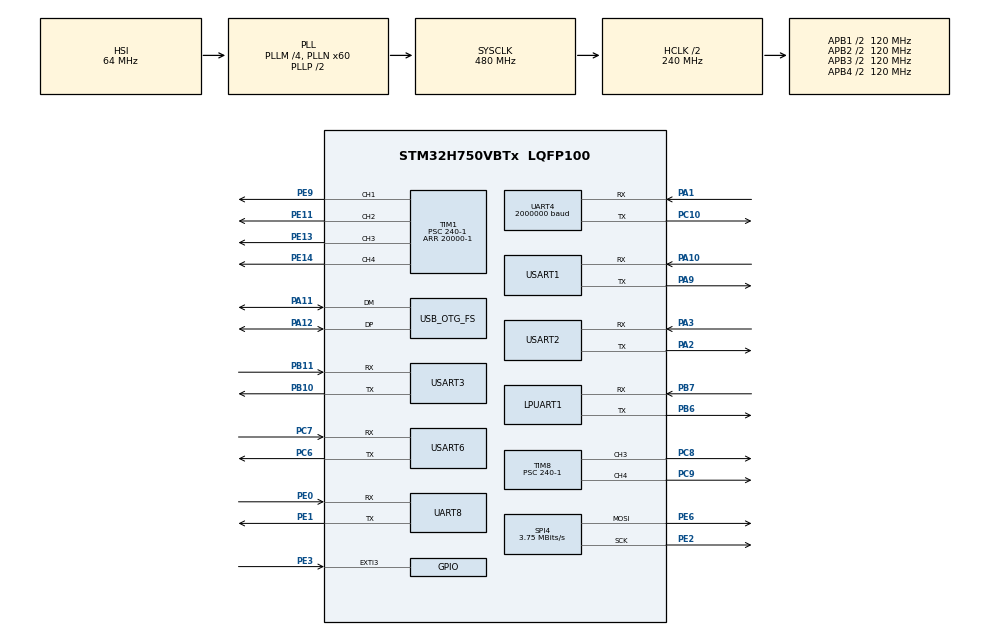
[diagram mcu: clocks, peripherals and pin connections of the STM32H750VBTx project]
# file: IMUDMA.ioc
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Dma.Request0=UART4_RX
Dma.Request1=UART4_TX
Dma.Request2=UART8_RX
Dma.Request3=SPI4_TX
Dma.Request4=USART3_TX
Dma.Request5=USART1_RX
Dma.Request6=USART2_RX
Dma.Request7=USART6_RX
Dma.SPI4_TX.3.Direction=DMA_MEMORY_TO_PERIPH
Dma.SPI4_TX.3.EventEnable=DISABLE
Dma.SPI4_TX.3.FIFOMode=DMA_FIFOMODE_DISABLE
Dma.SPI4_TX.3.Instance=DMA1_Stream3
Dma.SPI4_TX.3.MemDataAlignment=DMA_MDATAALIGN_BYTE
Dma.SPI4_TX.3.MemInc=DMA_MINC_ENABLE
Dma.SPI4_TX.3.Mode=DMA_NORMAL
Dma.SPI4_TX.3.PeriphDataAlignment=DMA_PDATAALIGN_BYTE
Dma.SPI4_TX.3.PeriphInc=DMA_PINC_DISABLE
Dma.SPI4_TX.3.Polarity=HAL_DMAMUX_REQ_GEN_RISING
Dma.SPI4_TX.3.Priority=DMA_PRIORITY_MEDIUM
Dma.SPI4_TX.3.RequestNumber=1
Dma.SPI4_TX.3.SignalID=NONE
Dma.SPI4_TX.3.SyncEnable=DISABLE
Dma.SPI4_TX.3.SyncPolarity=HAL_DMAMUX_SYNC_NO_EVENT
Dma.SPI4_TX.3.SyncRequestNumber=1
Dma.SPI4_TX.3.SyncSignalID=NONE
Dma.UART4_RX.0.Direction=DMA_PERIPH_TO_MEMORY
Dma.UART4_RX.0.EventEnable=DISABLE
Dma.UART4_RX.0.FIFOMode=DMA_FIFOMODE_DISABLE
Dma.UART4_RX.0.Instance=DMA1_Stream0
Dma.UART4_RX.0.MemDataAlignment=DMA_MDATAALIGN_BYTE
Dma.UART4_RX.0.MemInc=DMA_MINC_ENABLE
Dma.UART4_RX.0.Mode=DMA_NORMAL
Dma.UART4_RX.0.PeriphDataAlignment=DMA_PDATAALIGN_BYTE
Dma.UART4_RX.0.PeriphInc=DMA_PINC_DISABLE
Dma.UART4_RX.0.Polarity=HAL_DMAMUX_REQ_GEN_RISING
Dma.UART4_RX.0.Priority=DMA_PRIORITY_LOW
Dma.UART4_RX.0.RequestNumber=1
Dma.UART4_RX.0.SignalID=NONE
Dma.UART4_RX.0.SyncEnable=DISABLE
Dma.UART4_RX.0.SyncPolarity=HAL_DMAMUX_SYNC_NO_EVENT
Dma.UART4_RX.0.SyncRequestNumber=1
Dma.UART4_RX.0.SyncSignalID=NONE
Dma.UART4_TX.1.Direction=DMA_MEMORY_TO_PERIPH
Dma.UART4_TX.1.EventEnable=DISABLE
Dma.UART4_TX.1.FIFOMode=DMA_FIFOMODE_DISABLE
Dma.UART4_TX.1.Instance=DMA1_Stream1
Dma.UART4_TX.1.MemDataAlignment=DMA_MDATAALIGN_BYTE
Dma.UART4_TX.1.MemInc=DMA_MINC_ENABLE
Dma.UART4_TX.1.Mode=DMA_NORMAL
Dma.UART4_TX.1.PeriphDataAlignment=DMA_PDATAALIGN_BYTE
Dma.UART4_TX.1.PeriphInc=DMA_PINC_DISABLE
Dma.UART4_TX.1.Polarity=HAL_DMAMUX_REQ_GEN_RISING
Dma.UART4_TX.1.Priority=DMA_PRIORITY_LOW
Dma.UART4_TX.1.RequestNumber=1
Dma.UART4_TX.1.SignalID=NONE
Dma.UART4_TX.1.SyncEnable=DISABLE
Dma.UART4_TX.1.SyncPolarity=HAL_DMAMUX_SYNC_NO_EVENT
Dma.UART4_TX.1.SyncRequestNumber=1
Dma.UART4_TX.1.SyncSignalID=NONE
Dma.UART8_RX.2.Direction=DMA_PERIPH_TO_MEMORY
Dma.UART8_RX.2.EventEnable=DISABLE
Dma.UART8_RX.2.FIFOMode=DMA_FIFOMODE_DISABLE
Dma.UART8_RX.2.Instance=DMA1_Stream2
Dma.UART8_RX.2.MemDataAlignment=DMA_MDATAALIGN_BYTE
Dma.UART8_RX.2.MemInc=DMA_MINC_ENABLE
Dma.UART8_RX.2.Mode=DMA_NORMAL
Dma.UART8_RX.2.PeriphDataAlignment=DMA_PDATAALIGN_BYTE
Dma.UART8_RX.2.PeriphInc=DMA_PINC_DISABLE
Dma.UART8_RX.2.Polarity=HAL_DMAMUX_REQ_GEN_RISING
Dma.UART8_RX.2.Priority=DMA_PRIORITY_LOW
Dma.UART8_RX.2.RequestNumber=1
Dma.UART8_RX.2.SignalID=NONE
Dma.UART8_RX.2.SyncEnable=DISABLE
Dma.UART8_RX.2.SyncPolarity=HAL_DMAMUX_SYNC_NO_EVENT
Dma.UART8_RX.2.SyncRequestNumber=1
Dma.UART8_RX.2.SyncSignalID=NONE
Dma.USART1_RX.5.Direction=DMA_PERIPH_TO_MEMORY
Dma.USART1_RX.5.EventEnable=DISABLE
Dma.USART1_RX.5.FIFOMode=DMA_FIFOMODE_DISABLE
Dma.USART1_RX.5.Instance=DMA1_Stream5
Dma.USART1_RX.5.MemDataAlignment=DMA_MDATAALIGN_BYTE
Dma.USART1_RX.5.MemInc=DMA_MINC_ENABLE
Dma.USART1_RX.5.Mode=DMA_NORMAL
Dma.USART1_RX.5.PeriphDataAlignment=DMA_PDATAALIGN_BYTE
Dma.USART1_RX.5.PeriphInc=DMA_PINC_DISABLE
Dma.USART1_RX.5.Polarity=HAL_DMAMUX_REQ_GEN_RISING
Dma.USART1_RX.5.Priority=DMA_PRIORITY_LOW
Dma.USART1_RX.5.RequestNumber=1
Dma.USART1_RX.5.SignalID=NONE
Dma.USART1_RX.5.SyncEnable=DISABLE
Dma.USART1_RX.5.SyncPolarity=HAL_DMAMUX_SYNC_NO_EVENT
Dma.USART1_RX.5.SyncRequestNumber=1
Dma.USART1_RX.5.SyncSignalID=NONE
Dma.USART2_RX.6.Direction=DMA_PERIPH_TO_MEMORY
Dma.USART2_RX.6.EventEnable=DISABLE
Dma.USART2_RX.6.FIFOMode=DMA_FIFOMODE_DISABLE
Dma.USART2_RX.6.Instance=DMA1_Stream6
Dma.USART2_RX.6.MemDataAlignment=DMA_MDATAALIGN_BYTE
Dma.USART2_RX.6.MemInc=DMA_MINC_ENABLE
Dma.USART2_RX.6.Mode=DMA_NORMAL
Dma.USART2_RX.6.PeriphDataAlignment=DMA_PDATAALIGN_BYTE
Dma.USART2_RX.6.PeriphInc=DMA_PINC_DISABLE
Dma.USART2_RX.6.Polarity=HAL_DMAMUX_REQ_GEN_RISING
Dma.USART2_RX.6.Priority=DMA_PRIORITY_LOW
Dma.USART2_RX.6.RequestNumber=1
Dma.USART2_RX.6.SignalID=NONE
Dma.USART2_RX.6.SyncEnable=DISABLE
Dma.USART2_RX.6.SyncPolarity=HAL_DMAMUX_SYNC_NO_EVENT
Dma.USART2_RX.6.SyncRequestNumber=1
Dma.USART2_RX.6.SyncSignalID=NONE
Dma.USART3_TX.4.Direction=DMA_MEMORY_TO_PERIPH
Dma.USART3_TX.4.EventEnable=DISABLE
Dma.USART3_TX.4.FIFOMode=DMA_FIFOMODE_DISABLE
Dma.USART3_TX.4.Instance=DMA1_Stream4
Dma.USART3_TX.4.MemDataAlignment=DMA_MDATAALIGN_BYTE
Dma.USART3_TX.4.MemInc=DMA_MINC_ENABLE
Dma.USART3_TX.4.Mode=DMA_NORMAL
Dma.USART3_TX.4.PeriphDataAlignment=DMA_PDATAALIGN_BYTE
Dma.USART3_TX.4.PeriphInc=DMA_PINC_DISABLE
Dma.USART3_TX.4.Polarity=HAL_DMAMUX_REQ_GEN_RISING
Dma.USART3_TX.4.Priority=DMA_PRIORITY_LOW
Dma.USART3_TX.4.RequestNumber=1
Dma.USART3_TX.4.SignalID=NONE
Dma.USART3_TX.4.SyncEnable=DISABLE
Dma.USART3_TX.4.SyncPolarity=HAL_DMAMUX_SYNC_NO_EVENT
Dma.USART3_TX.4.SyncRequestNumber=1
Dma.USART3_TX.4.SyncSignalID=NONE
Dma.USART6_RX.7.Direction=DMA_PERIPH_TO_MEMORY
Dma.USART6_RX.7.EventEnable=DISABLE
Dma.USART6_RX.7.FIFOMode=DMA_FIFOMODE_DISABLE
Dma.USART6_RX.7.Instance=DMA1_Stream7
Dma.USART6_RX.7.MemDataAlignment=DMA_MDATAALIGN_BYTE
Dma.USART6_RX.7.MemInc=DMA_MINC_ENABLE
Dma.USART6_RX.7.Mode=DMA_NORMAL
Dma.USART6_RX.7.PeriphDataAlignment=DMA_PDATAALIGN_BYTE
Dma.USART6_RX.7.PeriphInc=DMA_PINC_DISABLE
Dma.USART6_RX.7.Polarity=HAL_DMAMUX_REQ_GEN_RISING
Dma.USART6_RX.7.Priority=DMA_PRIORITY_LOW
Dma.USART6_RX.7.RequestNumber=1
Dma.USART6_RX.7.SignalID=NONE
Dma.USART6_RX.7.SyncEnable=DISABLE
Dma.USART6_RX.7.SyncPolarity=HAL_DMAMUX_SYNC_NO_EVENT
Dma.USART6_RX.7.SyncRequestNumber=1
Dma.USART6_RX.7.SyncSignalID=NONE
FREERTOS.BinarySemaphores01=usblinkRxcplt,Dynamic,NULL
FREERTOS.Queues01=usbRxQue,1024,uint8_t,0,Dynamic,NULL,NULL;DVL_eurl,1,uint32_t,0,Dynamic,NULL,NULL;DVL_attitude,16,uint32_t,0,Dynamic,NULL,NULL;GPSData,1,uint32_t,0,Dynamic,NULL,NULL
FREERTOS.Tasks01=defaultTask,8,256,StartDefaultTask,Default,NULL,Dynamic,NULL,NULL;IMURead,40,128,IMUReadTask,As weak,NULL,Dynamic,NULL,NULL;atpk_tx,24,128,atpkTxTask,As weak,NULL,Dynamic,NULL,NULL;usblinktx,24,128,usblinktxTask,As weak,NULL,Dynamic,NULL,NULL;DepthRead,40,128,DepthReadTask,As weak,NULL,Dynamic,NULL,NULL;usblink_Rx,32,128,usblink_RxTask,As weak,NULL,Dynamic,NULL,NULL;atpk_rx,40,300,atpkRxTask,As weak,NULL,Dynamic,NULL,NULL;stabilizer,39,256,stabilizerTask,As weak,NULL,Dynamic,NULL,NULL;DVLReadTask,40,128,DvlReadTask,As weak,NULL,Dynamic,NULL,NULL;GPSReadTask,40,128,GpsReadTask,As weak,NULL,Dynamic,NULL,NULL;LED,8,128,ledTask11,Default,NULL,Dynamic,NULL,NULL
FREERTOS.configENABLE_FPU=0
FREERTOS.configGENERATE_RUN_TIME_STATS=1
FREERTOS.configTOTAL_HEAP_SIZE=64000
FREERTOS.configUSE_STATS_FORMATTING_FUNCTIONS=1
Mcu.Family=STM32H7
Mcu.Name=STM32H750VBTx
Mcu.Package=LQFP100
NVIC.DMA1_Stream0_IRQn=true\:10\:0\:true\:false\:true\:true\:false\:true\:true
NVIC.DMA1_Stream1_IRQn=true\:10\:0\:true\:false\:true\:true\:false\:true\:true
NVIC.DMA1_Stream2_IRQn=true\:6\:0\:true\:false\:true\:true\:false\:true\:true
NVIC.DMA1_Stream3_IRQn=true\:5\:0\:false\:false\:true\:true\:false\:true\:true
NVIC.DMA1_Stream4_IRQn=true\:5\:0\:false\:false\:true\:true\:false\:true\:true
NVIC.DMA1_Stream5_IRQn=true\:8\:0\:true\:false\:true\:true\:false\:true\:true
NVIC.DMA1_Stream6_IRQn=true\:5\:0\:false\:false\:true\:true\:false\:true\:true
NVIC.DMA1_Stream7_IRQn=true\:7\:0\:true\:false\:true\:true\:false\:true\:true
NVIC.EXTI3_IRQn=true\:1\:0\:true\:false\:true\:false\:true\:true\:true
NVIC.LPUART1_IRQn=true\:5\:0\:false\:false\:true\:true\:true\:true\:true
NVIC.OTG_FS_IRQn=true\:5\:0\:false\:false\:true\:true\:false\:true\:true
NVIC.PriorityGroup=NVIC_PRIORITYGROUP_4
NVIC.SPI4_IRQn=true\:5\:0\:false\:false\:true\:true\:false\:true\:true
NVIC.TIM16_IRQn=true\:0\:0\:true\:false\:true\:false\:false\:true\:true
NVIC.TIM17_IRQn=true\:5\:0\:false\:false\:true\:true\:true\:true\:true
NVIC.TimeBase=TIM16_IRQn
NVIC.TimeBaseIP=TIM16
NVIC.UART4_IRQn=true\:10\:0\:true\:false\:true\:true\:true\:true\:true
NVIC.UART8_IRQn=true\:6\:0\:true\:false\:true\:true\:true\:true\:true
NVIC.USART1_IRQn=true\:8\:0\:true\:false\:true\:true\:true\:true\:true
NVIC.USART2_IRQn=true\:5\:0\:false\:false\:true\:true\:true\:true\:true
NVIC.USART3_IRQn=true\:5\:0\:false\:false\:true\:true\:true\:true\:true
NVIC.USART6_IRQn=true\:7\:0\:true\:false\:true\:true\:true\:true\:true
PA1.Mode=Asynchronous
PA1.Signal=UART4_RX
PA10.Mode=Asynchronous
PA10.Signal=USART1_RX
PA11.Mode=Device_Only
PA11.Signal=USB_OTG_FS_DM
PA12.Mode=Device_Only
PA12.Signal=USB_OTG_FS_DP
PA2.Mode=Asynchronous
PA2.Signal=USART2_TX
PA3.Mode=Asynchronous
PA3.Signal=USART2_RX
PA9.Mode=Asynchronous
PA9.Signal=USART1_TX
PB10.Mode=Asynchronous
PB10.Signal=USART3_TX
PB11.Mode=Asynchronous
PB11.Signal=USART3_RX
PB6.Mode=Asynchronous
PB6.Signal=LPUART1_TX
PB7.Mode=Asynchronous
PB7.Signal=LPUART1_RX
PC10.Mode=Asynchronous
PC10.Signal=UART4_TX
PC6.Mode=Asynchronous
PC6.Signal=USART6_TX
PC7.Mode=Asynchronous
PC7.Signal=USART6_RX
PC8.Signal=S_TIM8_CH3
PC9.Signal=S_TIM8_CH4
PE0.Mode=Asynchronous
PE0.Signal=UART8_RX
PE1.Mode=Asynchronous
PE1.Signal=UART8_TX
PE11.Signal=S_TIM1_CH2
PE13.Signal=S_TIM1_CH3
PE14.Signal=S_TIM1_CH4
PE2.Mode=TX_Only_Simplex_Unidirect_Master
PE2.Signal=SPI4_SCK
PE3.Signal=GPXTI3
PE6.Mode=TX_Only_Simplex_Unidirect_Master
PE6.Signal=SPI4_MOSI
PE9.Signal=S_TIM1_CH1
PH0-OSC_IN\ (PH0).Mode=HSE-External-Oscillator
PH0-OSC_IN\ (PH0).Signal=RCC_OSC_IN
PH1-OSC_OUT\ (PH1).Mode=HSE-External-Oscillator
PH1-OSC_OUT\ (PH1).Signal=RCC_OSC_OUT
ProjectManager.HeapSize=0x400
ProjectManager.StackSize=0x400
ProjectManager.TargetToolchain=MDK-ARM V5.32
RCC.ADCFreq_Value=129000000
RCC.APB1Freq_Value=120000000
RCC.APB2Freq_Value=120000000
RCC.APB3Freq_Value=120000000
RCC.APB4Freq_Value=120000000
RCC.CortexFreq_Value=480000000
RCC.D1PPRE=RCC_APB3_DIV2
RCC.D2PPRE1=RCC_APB1_DIV2
RCC.D2PPRE2=RCC_APB2_DIV2
RCC.D3PPRE=RCC_APB4_DIV2
RCC.DIVM1=4
RCC.DIVN1=60
RCC.HCLKFreq_Value=240000000
RCC.HPRE=RCC_HCLK_DIV2
RCC.HSE_VALUE=8000000
RCC.PLL2FRACN=0
RCC.PLL3FRACN=0
RCC.PLLFRACN=0
RCC.PWR_Regulator_Voltage_Scale=PWR_REGULATOR_VOLTAGE_SCALE0
RCC.ProductRev=revV
RCC.SYSCLKFreq_VALUE=480000000
RCC.SYSCLKSource=RCC_SYSCLKSOURCE_PLLCLK
RCC.USBCLockSelection=RCC_USBCLKSOURCE_HSI48
RCC.USBFreq_Value=48000000
SH.S_TIM1_CH1.0=TIM1_CH1,PWM Generation1 CH1
SH.S_TIM1_CH2.0=TIM1_CH2,PWM Generation2 CH2
SH.S_TIM1_CH3.0=TIM1_CH3,PWM Generation3 CH3
SH.S_TIM1_CH4.0=TIM1_CH4,PWM Generation4 CH4
SH.S_TIM8_CH3.0=TIM8_CH3,PWM Generation3 CH3
SH.S_TIM8_CH4.0=TIM8_CH4,PWM Generation4 CH4
SPI4.BaudRatePrescaler=SPI_BAUDRATEPRESCALER_32
SPI4.CRCCalculation=SPI_CRCCALCULATION_ENABLE
SPI4.CRCLength=SPI_CRC_LENGTH_8BIT
SPI4.CalculateBaudRate=3.75 MBits/s
SPI4.DataSize=SPI_DATASIZE_8BIT
SPI4.Direction=SPI_DIRECTION_2LINES_TXONLY
SPI4.Mode=SPI_MODE_MASTER
SPI4.VirtualType=VM_MASTER
TIM1.Channel-PWM\ Generation1\ CH1=TIM_CHANNEL_1
TIM1.Channel-PWM\ Generation2\ CH2=TIM_CHANNEL_2
TIM1.Channel-PWM\ Generation3\ CH3=TIM_CHANNEL_3
TIM1.Channel-PWM\ Generation4\ CH4=TIM_CHANNEL_4
TIM1.OCMode_PWM-PWM\ Generation1\ CH1=TIM_OCMODE_PWM2
TIM1.OCMode_PWM-PWM\ Generation2\ CH2=TIM_OCMODE_PWM2
TIM1.OCMode_PWM-PWM\ Generation3\ CH3=TIM_OCMODE_PWM2
TIM1.OCMode_PWM-PWM\ Generation4\ CH4=TIM_OCMODE_PWM2
TIM1.Period=20000-1
TIM1.Prescaler=240-1
TIM17.Period=50-1
TIM17.Prescaler=240-1
TIM8.Channel-PWM\ Generation3\ CH3=TIM_CHANNEL_3
TIM8.Channel-PWM\ Generation4\ CH4=TIM_CHANNEL_4
TIM8.Period=20000-1
TIM8.Prescaler=240-1
UART4.BaudRate=2000000
UART4.DMADisableonRxErrorParam=UART_ADVFEATURE_DMA_DISABLEONRXERROR
UART4.OverrunDisableParam=UART_ADVFEATURE_OVERRUN_DISABLE
UART8.DMADisableonRxErrorParam=UART_ADVFEATURE_DMA_DISABLEONRXERROR
UART8.OverrunDisableParam=UART_ADVFEATURE_OVERRUN_DISABLE
USART1.DMADisableonRxErrorParam=ADVFEATURE_DMA_DISABLEONRXERROR
USART1.OverrunDisableParam=ADVFEATURE_OVERRUN_DISABLE
USART1.VirtualMode-Asynchronous=VM_ASYNC
USART2.DMADisableonRxErrorParam=ADVFEATURE_DMA_DISABLEONRXERROR
USART2.OverrunDisableParam=ADVFEATURE_OVERRUN_DISABLE
USART2.VirtualMode-Asynchronous=VM_ASYNC
USART3.DMADisableonRxErrorParam=ADVFEATURE_DMA_DISABLEONRXERROR
USART3.OverrunDisableParam=ADVFEATURE_OVERRUN_DISABLE
USART3.VirtualMode-Asynchronous=VM_ASYNC
USART6.DMADisableonRxErrorParam=ADVFEATURE_DMA_DISABLEONRXERROR
USART6.OverrunDisableParam=ADVFEATURE_OVERRUN_DISABLE
USART6.VirtualMode=VM_ASYNC
USB_DEVICE.CLASS_NAME_FS=CDC
USB_DEVICE.VirtualMode-CDC_FS=Cdc
USB_DEVICE.VirtualModeFS=Cdc_FS
USB_OTG_FS.VirtualMode=Device_Only
VP_FREERTOS_VS_CMSIS_V2.Mode=CMSIS_V2
VP_MEMORYMAP_VS_MEMORYMAP.Mode=CurAppReg
VP_SYS_VS_tim16.Mode=TIM16
VP_TIM17_VS_ClockSourceINT.Mode=Enable_Timer
VP_TIM1_VS_ClockSourceINT.Mode=Internal
VP_TIM8_VS_ClockSourceINT.Mode=Internal
VP_USB_DEVICE_VS_USB_DEVICE_CDC_FS.Mode=CDC_FS
board=custom

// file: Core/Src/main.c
/* USER CODE BEGIN Header */
/**
  ******************************************************************************
  * @file           : main.c
  * @brief          : Main program body
  ******************************************************************************
  * @attention
  *
  * Copyright (c) 2024 STMicroelectronics.
  * All rights reserved.
  *
  * This software is licensed under terms that can be found in the LICENSE file
  * in the root directory of this software component.
  * If no LICENSE file comes with this software, it is provided AS-IS.
  *
  ******************************************************************************
  */
/* USER CODE END Header */
#include <main.h>
#include <cmsis_os.h>
#include <dma.h>
#include <usart.h>
#include <memorymap.h>
#include <spi.h>
#include <tim.h>
#include <usb_device.h>
#include <gpio.h>

/* USER CODE BEGIN Includes */
#include <imu.h>
#include <depth.h>
#include <stdlib.h>
#include <ws2812.h>
#include <string.h>
#include <ctype.h>
#include <stdio.h>
#include <DVL.h>
#include <GPS.h>
#include "moter.h"

Axis3f  EulerRaw2;

uint8_t IMUbufferReset[8]={0xFA,0xFF,0xA4,0x02,0x00,0x01,0x5A};
uint8_t IMUbufferReset_ALL[8]={0xFA,0xFF,0xA4,0x02,0x00,0x03,0x58};

extern osMessageQueueId_t myQueue01Handl;
extern osMessageQueueId_t depthHandle;
extern uint8_t depthbuffer[128];
extern osMessageQueueId_t Uart2RxQueHandle;
extern osMessageQueueId_t EKF_IMU_QueHandle;
extern osSemaphoreId_t DataSentHandle;
extern control_t 	control;

int fputc(int ch,FILE *f)
{
   HAL_UART_Transmit(&hlpuart1,(uint8_t *)&ch,1,0xFFFF);//hurat1Ϊ´®¿ںţ¬¸ù¾ݗԼºǩ¿ö½øАѡԱ
   return ch;
}

/*TESTTESTT________________________________________________*/

uint8_t ping2[256] = {0};
uint8_t lsuartbuffer[1024]={0};

/*TESTTESTT________________________________________________*/

/* USER CODE END Includes */

/* USER CODE BEGIN PTD */
void HAL_UARTEx_RxEventCallback(UART_HandleTypeDef *huart, uint16_t Size){

     if(huart->Instance==UART8){
       float depth,rem;
       sscanf((char*)depthbuffer, "T=%fD=%f", &rem, &depth);//解析字符串数据
       osMessageQueuePut( depthHandle, &depth,0, 0 );//放入队列

       //HAL_UARTEx_ReceiveToIdle_DMA(&huart8,(uint8_t *)depthbuffer, sizeof(depthbuffer));

     }

	  if(huart->Instance==USART6){

	 printf("begin\r\n");
	  HAL_UART_Transmit(&hlpuart1,(uint8_t *)GPSbuffer, Size,1000);
//	   HAL_UART_Transmit(&hlpuart1,(uint8_t *)"\r\n", 2,1000);
		  printf("End\r\n");
         state_read(GPSbuffer);

//        HAL_UARTEx_ReceiveToIdle_DMA(&huart6,(uint8_t *)GPSbuffer, sizeof(GPSbuffer));
     }

	  if(huart->Instance==USART1){

//       HAL_UART_Transmit(&hlpuart1,(uint8_t *)"begin\r\n\r\n\r\n", sizeof("begin\r\n"),1000);

           if(Size<50){
		  HAL_UART_Transmit(&hlpuart1,(uint8_t *)DVL, Size,1000);
            }
//		SizeofDVL = Size;

		process_dma_buffer(DVL, Size);

		osSemaphoreRelease(DVLRxcpltHandle);
       //HAL_UARTEx_ReceiveToIdle_DMA(&huart1,(uint8_t *)DVL, sizeof(DVL));

     }

	 if(huart->Instance==LPUART1){

		// CDC_Transmit_FS(IMU, Size);
	   //CDC_Transmit_FS(lsuartbuffer,Size);
	   //HAL_UART_Transmit(&huart4,(uint8_t *)lsuartbuffer, Size,1000);

		HAL_UART_Transmit(&hlpuart1,(uint8_t *)lsuartbuffer, Size,1000);
       HAL_UART_Transmit(&huart4,(uint8_t *)lsuartbuffer, Size,1000);
       // memset(DVL,0,sizeof(DVL));
       HAL_UARTEx_ReceiveToIdle_IT(&hlpuart1,(uint8_t *)lsuartbuffer, sizeof(lsuartbuffer));

     }

	 	 if(huart->Instance==USART2){

		int i,j;
		j=30;//最大长度
		// CDC_Transmit_FS(DVL, Size);
	   //CDC_Transmit_FS(lsuartbuffer,Size);
	   //HAL_UART_Transmit_IT(&huart1,(uint8_t *)lsuartbuffer, Size);

//		HAL_UART_Transmit(&hlpuart1,(uint8_t *)ping2, Size,1000);
       //HAL_UART_Transmit(&hlpuart1,(uint8_t *)"ok\r\n", sizeof("ok\r\n"),1000);
       // memset(DVL,0,sizeof(DVL));
			 while(j>0)//寻找最后一个零向量的索引，注意校验位也可能是0，解决问题不彻底
		{
			if((*(ping2+j))!=0x00)
			{
				break;
			}
			j--;
		}
		for(i=0;i<(j+1);i++)	//0数据截断无法读取，是一个bug，
		{
			osMessageQueuePut( Uart2RxQueHandle,(ping2+i),0,0);
		}
       	HAL_UARTEx_ReceiveToIdle_DMA(&huart2,(uint8_t *)ping2, sizeof(ping2));

     }

	 if(huart->Instance==UART4){
	   //HAL_UART_Transmit(&hlpuart1,(uint8_t *)IMU, Size,1000);
		 IMUdata acc;
		 IMUdata gyro;
	     parse_mti630_data(IMU, Size,&mti_data);
//		printf("Roll: %.2f,Pitch:%.2f,Yaw:%.2f\r\n",mti_data.eurl.x,mti_data.eurl.y,mti_data.eurl.z);
//		 printf("XX: %.2f,YY:%.2f,ZZ:%.2f\r\n",mti_data.acc.x,mti_data.acc.y,mti_data.acc.z);
		 acc.IMU=mti_data.acc;
		 acc.timestamp=getRunTimeCounterValue();
		 gyro.IMU=mti_data.gyro;
		 gyro.timestamp=acc.timestamp;
		 osMessageQueuePut(EKF_IMU_QueHandle, &mti_data.acc, 0,  0 );//先加速度计再陀螺仪
		 osMessageQueuePut(EKF_IMU_QueHandle, &mti_data.gyro, 0,  0 );
         osMessageQueuePut( myQueue01Handle, &mti_data.eurl, 0,  0 );
		 osMessageQueuePut( IMU_accHandle, &acc, 0,  0 );
		 osMessageQueuePut( IMU_freeaccHandle, &mti_data.freeacc, 0,  0 );
		 osMessageQueuePut( IMU_gyroHandle, &gyro, 0,  0 );
//		 osSemaphoreRelease(EKF_IMUHandle);

//      HAL_UARTEx_ReceiveToIdle_DMA(&huart4,(uint8_t *)IMU, sizeof(IMU));

     }

}

void HAL_UART_RxCpltCallback(UART_HandleTypeDef *huart){

//      if(huart->Instance==UART4){
//
//         parse_ahrs_data(imu_buffer, sizeof(imu_buffer),&EulerRaw2);
//         //memset(imu_buffer,0,sizeof(imu_buffer));
//         osMessageQueuePut( myQueue01Handle,
//                                 &EulerRaw2,
//                                         0,
//                                         0 );
//        }

}
 void HAL_UART_TxCpltCallback(UART_HandleTypeDef *huart)
{
	if (huart->Instance == USART2) {
			osSemaphoreRelease(DataSentHandle);
    }

}

/* USER CODE END PTD */

/* USER CODE BEGIN PD */
volatile unsigned long CPU_RunTime = 0UL;
void configureTimerForRunTimeStats(void)
 {
     CPU_RunTime = 0UL;
 }

 unsigned long getRunTimeCounterValue(void)
 {
     return CPU_RunTime;
 }
/* USER CODE END PD */

/* USER CODE BEGIN PM */
void HAL_GPIO_EXTI_Callback(uint16_t GPIO_Pin)
{
  /* Prevent unused argument(s) compilation warning */

//  set_pixel_rgb(1,0);
//  set_pixel_rgb(11,0);
//  set_pixel_rgb(12,0);
//  set_pixel_rgb(13,0);
////  vTaskSuspendAll();
//  __HAL_TIM_SetCompare(&htim1, TIM_CHANNEL_1, 1500);
//  __HAL_TIM_SetCompare(&htim1, TIM_CHANNEL_3, 1500);
//  __HAL_TIM_SetCompare(&htim1, TIM_CHANNEL_2, 1000);
//  __HAL_TIM_SetCompare(&htim8, TIM_CHANNEL_4, 1000);
//  while(1){
//
//  }
  /* NOTE: This function Should not be modified, when the callback is needed,
           the HAL_GPIO_EXTI_Callback could be implemented in the user file
   */
}
/* USER CODE END PM */

void SystemClock_Config(void);
void MX_FREERTOS_Init(void);

int main(void)
{

  /* MCU Configuration--------------------------------------------------------*/

  /* Reset of all peripherals, Initializes the Flash interface and the Systick. */
  HAL_Init();

  /* Configure the system clock */
  SystemClock_Config();

  /* Initialize all configured peripherals */
  MX_GPIO_Init();
  MX_DMA_Init();
  MX_UART4_Init();
  MX_LPUART1_UART_Init();
  MX_TIM17_Init();
  MX_UART8_Init();
  MX_TIM1_Init();
  MX_TIM8_Init();
  MX_SPI4_Init();
  MX_USART3_UART_Init();
  MX_USART1_UART_Init();
  MX_USART2_UART_Init();
  MX_USART6_UART_Init();
  /* USER CODE BEGIN 2 */

  HAL_TIM_PWM_Start(&htim8,TIM_CHANNEL_3);
  HAL_TIM_PWM_Start(&htim8,TIM_CHANNEL_4);

  ws2812_AllShutOff();
  HAL_Delay(4000);
  HAL_UARTEx_ReceiveToIdle_IT(&hlpuart1,(uint8_t *)lsuartbuffer, sizeof(lsuartbuffer));
  HAL_UARTEx_ReceiveToIdle_DMA(&huart2,(uint8_t *)ping2, sizeof(ping2));
  //control.thrust=200;
  //Control_PWM_Set(&control);
 //HAL_UART_Transmit(&huart4,(uint8_t *)IMUbufferReset, sizeof(IMUbufferReset),1000);

  // HAL_UART_Transmit(&huart6,(uint8_t *)GPSbuffer, sizeof(GPSbuffer),1000);
  //HAL_UARTEx_ReceiveToIdle_IT(&hlpuart1,(uint8_t *)lsuartbuffer, sizeof(lsuartbuffer));

  //HAL_UARTEx_ReceiveToIdle_DMA(&huart2,(uint8_t *)ping2, sizeof(ping2));
 // HAL_UARTEx_ReceiveToIdle_IT(&hlpuart1,(uint8_t *)lsuartbuffer, sizeof(lsuartbuffer));
  //  HAL_UARTEx_ReceiveToIdle_DMA(&huart1,(uint8_t *)DVL, sizeof(DVL));

  //HAL_UARTEx_ReceiveToIdle_DMA(&huart4,(uint8_t *)IMU, sizeof(IMU));
  //

  /* USER CODE END 2 */

  /* Init scheduler */
  osKernelInitialize();

  /* Call init function for freertos objects (in cmsis_os2.c) */
  MX_FREERTOS_Init();

  /* Start scheduler */
  osKernelStart();

  /* We should never get here as control is now taken by the scheduler */

  /* Infinite loop */
  while (1)
  {

  }
}

void SystemClock_Config(void)
{
  RCC_OscInitTypeDef RCC_OscInitStruct = {0};
  RCC_ClkInitTypeDef RCC_ClkInitStruct = {0};

  /** Supply configuration update enable
  */
  HAL_PWREx_ConfigSupply(PWR_LDO_SUPPLY);

  /** Configure the main internal regulator output voltage
  */
  __HAL_PWR_VOLTAGESCALING_CONFIG(PWR_REGULATOR_VOLTAGE_SCALE0);

  while(!__HAL_PWR_GET_FLAG(PWR_FLAG_VOSRDY)) {}

  /** Initializes the RCC Oscillators according to the specified parameters
  * in the RCC_OscInitTypeDef structure.
  */
  RCC_OscInitStruct.OscillatorType = RCC_OSCILLATORTYPE_HSI48|RCC_OSCILLATORTYPE_HSI;
  RCC_OscInitStruct.HSIState = RCC_HSI_DIV1;
  RCC_OscInitStruct.HSICalibrationValue = RCC_HSICALIBRATION_DEFAULT;
  RCC_OscInitStruct.HSI48State = RCC_HSI48_ON;
  RCC_OscInitStruct.PLL.PLLState = RCC_PLL_ON;
  RCC_OscInitStruct.PLL.PLLSource = RCC_PLLSOURCE_HSI;
  RCC_OscInitStruct.PLL.PLLM = 4;
  RCC_OscInitStruct.PLL.PLLN = 60;
  RCC_OscInitStruct.PLL.PLLP = 2;
  RCC_OscInitStruct.PLL.PLLQ = 2;
  RCC_OscInitStruct.PLL.PLLR = 2;
  RCC_OscInitStruct.PLL.PLLRGE = RCC_PLL1VCIRANGE_3;
  RCC_OscInitStruct.PLL.PLLVCOSEL = RCC_PLL1VCOWIDE;
  RCC_OscInitStruct.PLL.PLLFRACN = 0;
  if (HAL_RCC_OscConfig(&RCC_OscInitStruct) != HAL_OK)
  {
    Error_Handler();
  }

  /** Initializes the CPU, AHB and APB buses clocks
  */
  RCC_ClkInitStruct.ClockType = RCC_CLOCKTYPE_HCLK|RCC_CLOCKTYPE_SYSCLK
                              |RCC_CLOCKTYPE_PCLK1|RCC_CLOCKTYPE_PCLK2
                              |RCC_CLOCKTYPE_D3PCLK1|RCC_CLOCKTYPE_D1PCLK1;
  RCC_ClkInitStruct.SYSCLKSource = RCC_SYSCLKSOURCE_PLLCLK;
  RCC_ClkInitStruct.SYSCLKDivider = RCC_SYSCLK_DIV1;
  RCC_ClkInitStruct.AHBCLKDivider = RCC_HCLK_DIV2;
  RCC_ClkInitStruct.APB3CLKDivider = RCC_APB3_DIV2;
  RCC_ClkInitStruct.APB1CLKDivider = RCC_APB1_DIV2;
  RCC_ClkInitStruct.APB2CLKDivider = RCC_APB2_DIV2;
  RCC_ClkInitStruct.APB4CLKDivider = RCC_APB4_DIV2;

  if (HAL_RCC_ClockConfig(&RCC_ClkInitStruct, FLASH_LATENCY_4) != HAL_OK)
  {
    Error_Handler();
  }
}

void HAL_TIM_PeriodElapsedCallback(TIM_HandleTypeDef *htim)
{
  /* USER CODE BEGIN Callback 0 */
 if(htim->Instance == TIM17 )
     {
         CPU_RunTime++;

     }
  /* USER CODE END Callback 0 */
  if (htim->Instance == TIM16)
  {
    HAL_IncTick();
  }
}

void Error_Handler(void)
{
  __disable_irq();
  while (1)
  {
  }
}

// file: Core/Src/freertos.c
/* USER CODE BEGIN Header */
/**
  ******************************************************************************
  * File Name          : freertos.c
  * Description        : Code for freertos applications
  ******************************************************************************
  * @attention
  *
  * Copyright (c) 2024 STMicroelectronics.
  * All rights reserved.
  *
  * This software is licensed under terms that can be found in the LICENSE file
  * in the root directory of this software component.
  * If no LICENSE file comes with this software, it is provided AS-IS.
  *
  ******************************************************************************
  */
/* USER CODE END Header */

#include "FreeRTOS.h"
#include "task.h"
#include "main.h"
#include "cmsis_os.h"

/* USER CODE BEGIN Includes */
#include "usart.h"
#include "imu.h"
#include "tim.h"
#include "stdio.h"
#include "debug.h"
#include "atpk.h"
#include "WS2812.h"
#include "depth.h"
#include "atpk.h"
/* USER CODE END Includes */

/* USER CODE BEGIN Variables */
osMessageQueueId_t myQueue01Handle;
const osMessageQueueAttr_t myQueue01_attributes = {
  .name = "myQueue01"
};

osMessageQueueId_t usbtxHandle;
const osMessageQueueAttr_t usbtx_attributes = {
  .name = "usbtx"
};

osMessageQueueId_t depthHandle;
const osMessageQueueAttr_t depth_attributes = {
  .name = "depth"
};

osMessageQueueId_t atpkrxHandle;
const osMessageQueueAttr_t atpkrx_attributes = {
  .name = "atpkrx"
};

osMessageQueueId_t  DVL_wrp_posHandle;
const osMessageQueueAttr_t DVL_wrp_pos_attributes = {
  .name = "DVL_wrp_pos"
};

osMessageQueueId_t  DVL_wrz_velocityHandle;
const osMessageQueueAttr_t DVL_wrz_velocity_attributes = {
  .name = "DVL_wrz_velocity"
};

osSemaphoreId_t  DVLRxcpltHandle;
const osSemaphoreAttr_t DVLRxcplt_attributes = {
  .name = "DvlRxcplt"
};

osMessageQueueId_t  IMU_accHandle;
const osMessageQueueAttr_t IMU_acc_attributes = {
  .name = "IMU_acc"
};
osMessageQueueId_t  IMU_freeaccHandle;
const osMessageQueueAttr_t IMU_freeacc_attributes = {
  .name = "IMU_freeacc"
};
osMessageQueueId_t  IMU_gyroHandle;
const osMessageQueueAttr_t IMU_gyro_attributes = {
  .name = "IMU_gyro"
};
/* USER CODE END Variables */
/* Definitions for defaultTask */
osThreadId_t defaultTaskHandle;
const osThreadAttr_t defaultTask_attributes = {
  .name = "defaultTask",
  .stack_size = 256 * 4,
  .priority = (osPriority_t) osPriorityLow,
};
/* Definitions for IMURead */
osThreadId_t IMUReadHandle;
const osThreadAttr_t IMURead_attributes = {
  .name = "IMURead",
  .stack_size = 128 * 4,
  .priority = (osPriority_t) osPriorityHigh,
};
/* Definitions for atpk_tx */
osThreadId_t atpk_txHandle;
const osThreadAttr_t atpk_tx_attributes = {
  .name = "atpk_tx",
  .stack_size = 256 * 4,
  .priority = (osPriority_t) osPriorityAboveNormal,
};
/* Definitions for usblinktx */
osThreadId_t usblinktxHandle;
const osThreadAttr_t usblinktx_attributes = {
  .name = "usblinktx",
  .stack_size = 256 * 4,
  .priority = (osPriority_t) osPriorityNormal,
};
/* Definitions for DepthRead */
osThreadId_t DepthReadHandle;
const osThreadAttr_t DepthRead_attributes = {
  .name = "DepthRead",
  .stack_size = 128 * 4,
  .priority = (osPriority_t) osPriorityHigh,
};
/* Definitions for usblink_Rx */
osThreadId_t usblink_RxHandle;
const osThreadAttr_t usblink_Rx_attributes = {
  .name = "usblink_Rx",
  .stack_size = 128 * 4,
  .priority = (osPriority_t) osPriorityAboveNormal,
};
/* Definitions for atpk_rx */
osThreadId_t atpk_rxHandle;
const osThreadAttr_t atpk_rx_attributes = {
  .name = "atpk_rx",
  .stack_size = 300 * 4,
  .priority = (osPriority_t) osPriorityHigh,
};
/* Definitions for stabilizer */
osThreadId_t stabilizerHandle;
const osThreadAttr_t stabilizer_attributes = {
  .name = "stabilizer",
  .stack_size = 256 * 4,
  .priority = (osPriority_t) osPriorityAboveNormal7,
};
/* Definitions for DVLReadTask */
osThreadId_t DVLReadTaskHandle;
const osThreadAttr_t DVLReadTask_attributes = {
  .name = "DVLReadTask",
  .stack_size = 256 * 4,
  .priority = (osPriority_t) osPriorityHigh,
};
/* Definitions for GPSReadTask */
osThreadId_t GPSReadTaskHandle;
const osThreadAttr_t GPSReadTask_attributes = {
  .name = "GPSReadTask",
  .stack_size = 128 * 4,
  .priority = (osPriority_t) osPriorityHigh,
};
/* Definitions for LED */
osThreadId_t LEDHandle;
const osThreadAttr_t LED_attributes = {
  .name = "LED",
  .stack_size = 128 * 4,
  .priority = (osPriority_t) osPriorityLow,
};
/* Definitions for usbRxQue */
osMessageQueueId_t usbRxQueHandle;
const osMessageQueueAttr_t usbRxQue_attributes = {
  .name = "usbRxQue"
};
/* Definitions for DVL_eurl */
osMessageQueueId_t DVL_eurlHandle;
const osMessageQueueAttr_t DVL_eurl_attributes = {
  .name = "DVL_eurl"
};
/* Definitions for DVL_attitude */
osMessageQueueId_t DVL_attitudeHandle;
const osMessageQueueAttr_t DVL_attitude_attributes = {
  .name = "DVL_attitude"
};
/* Definitions for GPSData */
osMessageQueueId_t GPSDataHandle;
const osMessageQueueAttr_t GPSData_attributes = {
  .name = "GPSData"
};
/* Definitions for usblinkRxcplt */
osSemaphoreId_t usblinkRxcpltHandle;
const osSemaphoreAttr_t usblinkRxcplt_attributes = {
  .name = "usblinkRxcplt"
};
/* Definitions for Uart2Que */
osMessageQueueId_t Uart2RxQueHandle;
const osMessageQueueAttr_t Uart2RxQue_attributes = {
  .name = "Uart2RxQue"
};
osMessageQueueId_t Uart2TxQueHandle;
const osMessageQueueAttr_t Uart2tx_attributes = {
  .name = "Uart2tx"
};
/* Definitions for Uart2link */
osThreadId_t Uart2link_RxHandle;
const osThreadAttr_t Uart2link_Rx_attributes = {
  .name = "Uart2link_Rx",
  .stack_size = 128 * 4,
  .priority = (osPriority_t) osPriorityAboveNormal,
};
osThreadId_t Uart2linktxHandle;
const osThreadAttr_t Uart2linktx_attributes = {
  .name = "Uart2linktx",
  .stack_size = 256 * 4,
  .priority = (osPriority_t) osPriorityNormal,
};
osThreadId_t EKF_UpdataHandle;
const osThreadAttr_t EKF_attributes = {
  .name = "EKF_Updata",
  .stack_size = 256 * 16,//原来是4
  .priority = (osPriority_t) osPriorityHigh,
};
osSemaphoreId_t EKF_IMUHandle;
const osSemaphoreAttr_t EKF_IMU_attributes = {
  .name = "EKF_IMU"
};
osSemaphoreId_t DVL_Handle;
const osSemaphoreAttr_t DVL_attributes = {
  .name = "DVL_"
};
osMessageQueueId_t DVL_Position_QueHandle;
const osMessageQueueAttr_t DVL_Position_Que_attributes = {
  .name = "Uart2RxQue"
};
osMessageQueueId_t DVL_Speed_QueHandle;
const osMessageQueueAttr_t DVL_Speed_Que_attributes = {
  .name = "Uart2RxQue"
};
osMessageQueueId_t EKF_IMU_QueHandle;
const osMessageQueueAttr_t EKF_IMU_Que_attributes = {
  .name = "EKF_IMU_Que"
};
osMessageQueueId_t EKF_Position_QueHandle;
const osMessageQueueAttr_t EKF_Position_Que_attributes = {
  .name = "EKF_Position_Que"
};
osSemaphoreId_t DataSentHandle;
const osSemaphoreAttr_t DataSent_attributes = {
  .name = "EKF_IMU"
};
osThreadId_t EKF_FusionHandle;
const osThreadAttr_t EKF_Fusionattributes = {
  .name = "EKF_Fusion",
  .stack_size = 128 * 4,//原来是4
  .priority = (osPriority_t) osPriorityHigh,//注意优先级
};

void StartDefaultTask(void *argument);
void IMUReadTask(void *argument);
void atpkTxTask(void *argument);
void usblinktxTask(void *argument);
void DepthReadTask(void *argument);
void usblink_RxTask(void *argument);
void atpkRxTask(void *argument);
void stabilizerTask(void *argument);
void DvlReadTask(void *argument);
void GpsReadTask(void *argument);
void ledTask11(void *argument);
void Uart2linktxTask(void *argument);
void Uart2link_RxTask(void *argument);
void EKF_UpdataTask(void *argument);
void EKF_FusionTask(void *argument);
extern void MX_USB_DEVICE_Init(void);
void MX_FREERTOS_Init(void); /* (MISRA C 2004 rule 8.1) */

/* Hook prototypes */
void configureTimerForRunTimeStats(void);
unsigned long getRunTimeCounterValue(void);

/* USER CODE BEGIN 1 */
/* Functions needed when configGENERATE_RUN_TIME_STATS is on */
__weak void configureTimerForRunTimeStats(void)
{

}

__weak unsigned long getRunTimeCounterValue(void)
{
return 0;
}
/* USER CODE END 1 */

void MX_FREERTOS_Init(void) {

  /* Create the semaphores(s) */
  /* creation of usblinkRxcplt */
  usblinkRxcpltHandle = osSemaphoreNew(1, 0, &usblinkRxcplt_attributes);

  /* USER CODE BEGIN RTOS_SEMAPHORES */
  /* add semaphores, ... */
	DVL_Handle = osSemaphoreNew(1, 0, &DVL_attributes);//信号量
	DVLRxcpltHandle = osSemaphoreNew(1, 0, &DVLRxcplt_attributes);
	EKF_IMUHandle = osSemaphoreNew(1, 1, &EKF_IMU_attributes);//用于USB
	DataSentHandle = osSemaphoreNew(1, 0, &DataSent_attributes);
  /* USER CODE END RTOS_SEMAPHORES */

  /* Create the queue(s) */
  /* creation of usbRxQue */
  usbRxQueHandle = osMessageQueueNew (1024, sizeof(uint8_t), &usbRxQue_attributes);
  usbtxHandle = osMessageQueueNew (1000, sizeof(atkp_t), &usbtx_attributes);//1000

  Uart2RxQueHandle = osMessageQueueNew (1024, sizeof(uint8_t), &Uart2RxQue_attributes);
  Uart2TxQueHandle = osMessageQueueNew (100, sizeof(atkp_t), &Uart2tx_attributes);//注意修改
  DVL_Position_QueHandle = osMessageQueueNew (1, sizeof(Axis3f), &DVL_Position_Que_attributes);
  DVL_Speed_QueHandle = osMessageQueueNew (1, sizeof(Axis3f), &DVL_Speed_Que_attributes);
  EKF_IMU_QueHandle = osMessageQueueNew (2, sizeof(Axis3f), &EKF_IMU_Que_attributes);
  EKF_Position_QueHandle = osMessageQueueNew (2, sizeof(IMUdata), &EKF_Position_Que_attributes);//融合后的位置队列加速度
  /* USER CODE BEGIN RTOS_QUEUES */
  /* add queues, ... */
   myQueue01Handle = osMessageQueueNew (1, sizeof(Axis3f), &myQueue01_attributes);

   depthHandle = osMessageQueueNew (1, sizeof(float), &depth_attributes);
   atpkrxHandle = osMessageQueueNew (10, sizeof(atkp_t), &atpkrx_attributes);

   DVL_wrp_posHandle = osMessageQueueNew (1, sizeof(DVLdata), &DVL_wrp_pos_attributes);
   DVL_wrz_velocityHandle = osMessageQueueNew (1, sizeof(DVLdata), &DVL_wrz_velocity_attributes);
   DVL_eurlHandle = osMessageQueueNew (1, sizeof(Axis3f), &DVL_eurl_attributes);
   DVL_attitudeHandle = osMessageQueueNew (1, sizeof(float), &DVL_attitude_attributes);

    GPSDataHandle = osMessageQueueNew (1, sizeof(GPRMC_Data), &GPSData_attributes);

   IMU_accHandle         = osMessageQueueNew (1, sizeof(IMUdata), &IMU_acc_attributes);
   IMU_freeaccHandle  = osMessageQueueNew (1, sizeof(Axis3f), &IMU_freeacc_attributes);
   IMU_gyroHandle        = osMessageQueueNew (1, sizeof(IMUdata), & IMU_gyro_attributes);
  /* USER CODE END RTOS_QUEUES */

  /* Create the thread(s) */
  /* creation of defaultTask */
  defaultTaskHandle = osThreadNew(StartDefaultTask, NULL, &defaultTask_attributes);

  /* creation of IMURead */
  IMUReadHandle = osThreadNew(IMUReadTask, NULL, &IMURead_attributes);

  /* creation of atpk_tx */
  atpk_txHandle = osThreadNew(atpkTxTask, NULL, &atpk_tx_attributes);

  /* creation of usblinktx */
  usblinktxHandle = osThreadNew(usblinktxTask, NULL, &usblinktx_attributes);

  /* creation of DepthRead */
  DepthReadHandle = osThreadNew(DepthReadTask, NULL, &DepthRead_attributes);

  /* creation of usblink_Rx */
  usblink_RxHandle = osThreadNew(usblink_RxTask, NULL, &usblink_Rx_attributes);

  /* creation of atpk_rx */
  atpk_rxHandle = osThreadNew(atpkRxTask, NULL, &atpk_rx_attributes);

  /* creation of stabilizer */
  stabilizerHandle = osThreadNew(stabilizerTask, NULL, &stabilizer_attributes);

  /* creation of DVLReadTask */
  DVLReadTaskHandle = osThreadNew(DvlReadTask, NULL, &DVLReadTask_attributes);

  /* creation of GPSReadTask */
  GPSReadTaskHandle = osThreadNew(GpsReadTask, NULL, &GPSReadTask_attributes);

  /* creation of LED */
  LEDHandle = osThreadNew(ledTask11, NULL, &LED_attributes);

  /* USER CODE BEGIN RTOS_THREADS */

  Uart2linktxHandle = osThreadNew(Uart2linktxTask, NULL, &Uart2linktx_attributes);
  Uart2link_RxHandle = osThreadNew(Uart2link_RxTask, NULL, &Uart2link_Rx_attributes);
  EKF_UpdataHandle= osThreadNew(EKF_UpdataTask, NULL, &EKF_attributes);
  EKF_FusionHandle= osThreadNew(EKF_FusionTask, NULL, &EKF_Fusionattributes);
  /* USER CODE END RTOS_THREADS */

}

/* USER CODE BEGIN Header_StartDefaultTask */
/**
  * @brief  Function implementing the defaultTask thread.
  * @param  argument: Not used
  * @retval None
  */
uint8_t CPU_RunInfo[400];
/* USER CODE END Header_StartDefaultTask */
void StartDefaultTask(void *argument)
{
  /* init code for USB_DEVICE */
  MX_USB_DEVICE_Init();
  /* USER CODE BEGIN StartDefaultTask */
  HAL_TIM_Base_Start_IT(&htim17);
  Axis3f E;
  float dep;
  osDelay(8000);
// uint8_t dvlresetpos[]={"wcr,*64\r\n"};
// uint8_t dvlcommande[]={"wcv,*30\r\n"};
//	printf("发送！！！！！");
//	 HAL_UART_Transmit(&huart1,(uint8_t *)dvlcommande, sizeof(dvlcommande),1000);
  /* Infinite loop */
  for(;;)
  {

    //ws2812_All_LED_one_Color_breath(10,C_pink,0);
    ///ws2812_Roll_on_Color_Ring(10);
	// ws2812_police();

//	 getEurlRawData(&E);
//	 getDepthData(&dep);
//	 printf("Roll: %.2f,Pitch:%.2f,Yaw:%.2f\r\n",E.x,E.y,E.z);
//	 printf("DEPTH:%.2f",dep);
//
//         memset(CPU_RunInfo,0,400);                          //��Ϣ����������
//         vTaskList((char *)&CPU_RunInfo);  //��ȡ��������ʱ����Ϣ
//	    printf("---------------------------------------------\r\n");
//        printf("任务名    任务状态 优先级     剩余栈     任务序号\r\n");
//
//         printf("%s", CPU_RunInfo);
//         printf("---------------------------------------------\r\n");

//         memset(CPU_RunInfo,0,400);                          //��Ϣ����������
//         vTaskGetRunTimeStats((char *)&CPU_RunInfo);
//          printf("任务名         运行计数    使用率\r\n");
//         printf("%s", CPU_RunInfo);
//         printf("---------------------------------------------\r\n\n");

         osDelay(1000);   /* ��ʱ500��tick */

  }
  /* USER CODE END StartDefaultTask */
}

/* USER CODE BEGIN Header_IMUReadTask */
/**
* @brief Function implementing the IMURead thread.
* @param argument: Not used
* @retval None
*/\

/* USER CODE END Header_IMUReadTask */
__weak void IMUReadTask(void *argument)
{
  for(;;)
  {
   osDelay(1);
  }
}

__weak void atpkTxTask(void *argument)
{
  /* USER CODE BEGIN atpkTxTask */

  /* Infinite loop */
  for(;;)
  {

    osDelay(1000);
  }
  /* USER CODE END atpkTxTask */
}

__weak void usblinktxTask(void *argument)
{
  for(;;)
  {
    osDelay(1);
  }
}

__weak void DepthReadTask(void *argument)
{
  for(;;)
  {
    osDelay(1);
  }
}

__weak void usblink_RxTask(void *argument)
{
  for(;;)
  {
    osDelay(1);
  }
}

__weak void atpkRxTask(void *argument)
{
  for(;;)
  {
    osDelay(1);
  }
}

__weak void stabilizerTask(void *argument)
{
  for(;;)
  {
    osDelay(1);
  }
}

__weak void DvlReadTask(void *argument)
{
  for(;;)
  {
    osDelay(1);
  }
}

__weak void GpsReadTask(void *argument)
{
  for(;;)
  {
    osDelay(1);
  }
}

void ledTask11(void *argument)
{
  /* USER CODE BEGIN ledTask11 */
  /* Infinite loop */
  for(;;)
  {
	//  ws2812_DualFlow(C_indigo, 500);
	 // ws2812_BreathingWave(C_indigo, 50, 14);
	  //ws2812_RainbowMeteor(10, 5, 0.1, 0);
//	  if(__HAL_UART_GET_FLAG(&huart2,UART_FLAG_TC)==1&&osSemaphoreGetCount(DataSentHandle)==0)
//	  {
//		osSemaphoreRelease(DataSentHandle);
//	  }
	  if(MODE_ch == 0){
	   ws2812_SmoothMeteor(C_pink, 60, 6, 0) ;
	  }
	  else if(MODE_ch == 1){
	  ws2812_SmoothMeteor(C_pink, 10, 8, 1) ;
	  }

	//ws2812_police();
    //osDelay(1);
  }
  /* USER CODE END ledTask11 */
}

/* USER CODE BEGIN Application */
__weak void Uart2link_RxTask(void *argument)
{
  /* USER CODE BEGIN usblink_RxTask */
  /* Infinite loop */
  for(;;)
  {
    osDelay(1);
  }
  /* USER CODE END usblink_RxTask */
}
__weak void Uart2linktxTask(void *argument)
{
  /* USER CODE BEGIN usblinktxTask */
  /* Infinite loop */
  for(;;)
  {
    osDelay(1);
  }
  /* USER CODE END usblinktxTask */
}
__weak void EKF_UpdataTask(void *argument)
{
  /* USER CODE BEGIN usblinktxTask */
  /* Infinite loop */
  for(;;)
  {
    osDelay(1);
  }
  /* USER CODE END usblinktxTask */
}
/* USER CODE END Application */
__weak void EKF_FusionTask(void *argument)
{
  for(;;)
  {
    osDelay(1);
  }
}
/* USER CODE END Application */
